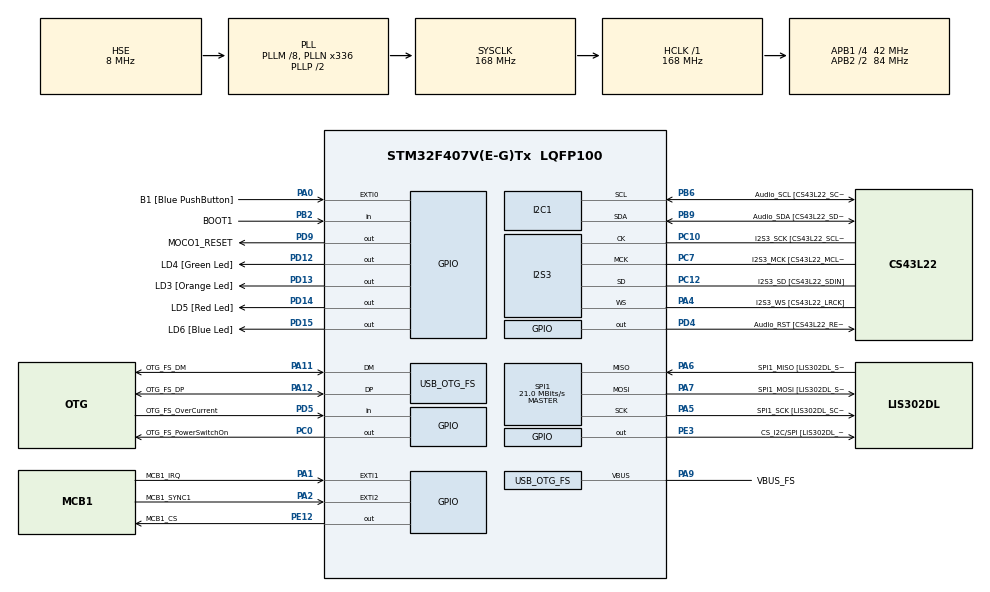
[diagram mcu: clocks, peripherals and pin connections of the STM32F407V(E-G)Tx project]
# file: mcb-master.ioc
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I2S3.AudioFreq-Half_Duplex_Master=I2S_AUDIOFREQ_96K
I2S3.ErrorAudioFreq=-2.34 %
I2S3.ErrorAudioFreq-Half_Duplex_Master=0.8 %
I2S3.FullDuplexMode=I2S_FULLDUPLEXMODE_DISABLE
I2S3.Instance=SPI$Index
I2S3.RealAudioFreq=93.75 KHz
I2S3.RealAudioFreq-Half_Duplex_Master=96.774 KHz
I2S3.VirtualMode=I2S_MODE_MASTER
Mcu.Family=STM32F4
Mcu.Name=STM32F407V(E-G)Tx
Mcu.Package=LQFP100
NVIC.OTG_FS_IRQn=true\:0\:0\:false\:false\:true\:true\:true
NVIC.PriorityGroup=NVIC_PRIORITYGROUP_0
PA0-WKUP.GPIO_Label=B1 [Blue PushButton]
PA0-WKUP.GPIO_ModeDefaultEXTI=GPIO_MODE_EVT_RISING
PA0-WKUP.GPIO_PuPd=GPIO_NOPULL
PA0-WKUP.Signal=GPXTI0
PA1.GPIO_Label=MCB1_IRQ
PA1.Signal=GPXTI1
PA10.GPIO_Label=OTG_FS_ID
PA10.GPIO_Mode=GPIO_MODE_AF_PP
PA10.GPIO_PuPd=GPIO_NOPULL
PA10.GPIO_Speed=GPIO_SPEED_FREQ_LOW
PA10.Signal=USB_OTG_FS_ID
PA11.GPIO_Label=OTG_FS_DM
PA11.GPIO_Mode=GPIO_MODE_AF_PP
PA11.GPIO_PuPd=GPIO_NOPULL
PA11.GPIO_Speed=GPIO_SPEED_FREQ_LOW
PA11.Mode=Host_Only
PA11.Signal=USB_OTG_FS_DM
PA12.GPIO_Label=OTG_FS_DP
PA12.GPIO_Mode=GPIO_MODE_AF_PP
PA12.GPIO_PuPd=GPIO_NOPULL
PA12.GPIO_Speed=GPIO_SPEED_FREQ_LOW
PA12.Mode=Host_Only
PA12.Signal=USB_OTG_FS_DP
PA13.GPIO_Label=SWDIO
PA13.Mode=Serial_Wire
PA13.Signal=SYS_JTMS-SWDIO
PA14.GPIO_Label=SWCLK
PA14.Mode=Serial_Wire
PA14.Signal=SYS_JTCK-SWCLK
PA2.GPIO_Label=MCB1_SYNC1
PA2.GPIO_PuPd=GPIO_PULLUP
PA2.Signal=GPXTI2
PA4.GPIO_Label=I2S3_WS [CS43L22_LRCK]
PA4.GPIO_Mode=GPIO_MODE_AF_PP
PA4.GPIO_PuPd=GPIO_NOPULL
PA4.GPIO_Speed=GPIO_SPEED_FREQ_LOW
PA4.Mode=Half_Duplex_Master
PA4.Signal=I2S3_WS
PA5.GPIO_Label=SPI1_SCK [LIS302DL_SCL/SPC]
PA5.GPIO_Mode=GPIO_MODE_AF_PP
PA5.GPIO_PuPd=GPIO_NOPULL
PA5.GPIO_Speed=GPIO_SPEED_FREQ_LOW
PA5.Mode=Full_Duplex_Master
PA5.Signal=SPI1_SCK
PA6.GPIO_Label=SPI1_MISO [LIS302DL_SDO]
PA6.GPIO_Mode=GPIO_MODE_AF_PP
PA6.GPIO_PuPd=GPIO_NOPULL
PA6.GPIO_Speed=GPIO_SPEED_FREQ_LOW
PA6.Mode=Full_Duplex_Master
PA6.Signal=SPI1_MISO
PA7.GPIO_Label=SPI1_MOSI [LIS302DL_SDA/SDI/SDO]
PA7.GPIO_Mode=GPIO_MODE_AF_PP
PA7.GPIO_PuPd=GPIO_NOPULL
PA7.GPIO_Speed=GPIO_SPEED_FREQ_LOW
PA7.Mode=Full_Duplex_Master
PA7.Signal=SPI1_MOSI
PA9.GPIO_Label=VBUS_FS
PA9.GPIO_Mode=GPIO_MODE_INPUT
PA9.GPIO_PuPd=GPIO_NOPULL
PA9.Mode=Activate_VBUS
PA9.Signal=USB_OTG_FS_VBUS
PB10.GPIO_Label=CLK_IN [MP45DT02_CLK]
PB10.GPIO_Mode=GPIO_MODE_AF_PP
PB10.GPIO_PuPd=GPIO_NOPULL
PB10.GPIO_Speed=GPIO_SPEED_FREQ_LOW
PB10.Signal=I2S2_CK
PB2.GPIO_Label=BOOT1
PB2.GPIO_Mode=GPIO_MODE_INPUT
PB2.GPIO_PuPd=GPIO_NOPULL
PB2.Signal=GPIO_Input
PB3.GPIO_Label=SWO
PB3.Signal=SYS_JTDO-SWO
PB6.GPIO_Label=Audio_SCL [CS43L22_SCL]
PB6.GPIO_Mode=GPIO_MODE_AF_OD
PB6.GPIO_PuPd=GPIO_NOPULL
PB6.GPIO_Speed=GPIO_SPEED_FREQ_LOW
PB6.Mode=I2C
PB6.Signal=I2C1_SCL
PB9.GPIO_Label=Audio_SDA [CS43L22_SDA]
PB9.GPIO_Mode=GPIO_MODE_AF_OD
PB9.GPIO_PuPd=GPIO_NOPULL
PB9.GPIO_Speed=GPIO_SPEED_FREQ_LOW
PB9.Mode=I2C
PB9.Signal=I2C1_SDA
PC0.GPIO_Label=OTG_FS_PowerSwitchOn
PC0.GPIO_PuPd=GPIO_NOPULL
PC0.GPIO_Speed=GPIO_SPEED_FREQ_LOW
PC0.PinState=GPIO_PIN_SET
PC0.Signal=GPIO_Output
PC10.GPIO_Label=I2S3_SCK [CS43L22_SCLK]
PC10.GPIO_Mode=GPIO_MODE_AF_PP
PC10.GPIO_PuPd=GPIO_NOPULL
PC10.GPIO_Speed=GPIO_SPEED_FREQ_LOW
PC10.Mode=Half_Duplex_Master
PC10.Signal=I2S3_CK
PC12.GPIO_Label=I2S3_SD [CS43L22_SDIN]
PC12.GPIO_Mode=GPIO_MODE_AF_PP
PC12.GPIO_PuPd=GPIO_NOPULL
PC12.GPIO_Speed=GPIO_SPEED_FREQ_LOW
PC12.Mode=Half_Duplex_Master
PC12.Signal=I2S3_SD
PC14-OSC32_IN.GPIO_Label=PC14-OSC32_IN
PC14-OSC32_IN.Mode=LSE-External-Oscillator
PC14-OSC32_IN.Signal=RCC_OSC32_IN
PC15-OSC32_OUT.GPIO_Label=PC15-OSC32_OUT
PC15-OSC32_OUT.Mode=LSE-External-Oscillator
PC15-OSC32_OUT.Signal=RCC_OSC32_OUT
PC3.GPIO_Label=PDM_OUT [MP45DT02_DOUT]
PC3.GPIO_Mode=GPIO_MODE_AF_PP
PC3.GPIO_PuPd=GPIO_NOPULL
PC3.GPIO_Speed=GPIO_SPEED_FREQ_LOW
PC3.Signal=I2S2_SD
PC7.GPIO_Label=I2S3_MCK [CS43L22_MCLK]
PC7.GPIO_Mode=GPIO_MODE_AF_PP
PC7.GPIO_PuPd=GPIO_NOPULL
PC7.GPIO_Speed=GPIO_SPEED_FREQ_LOW
PC7.Mode=Master_Clock_Activated
PC7.Signal=I2S3_MCK
PD12.GPIO_Label=LD4 [Green Led]
PD12.GPIO_PuPd=GPIO_NOPULL
PD12.GPIO_Speed=GPIO_SPEED_FREQ_LOW
PD12.Signal=GPIO_Output
PD13.GPIO_Label=LD3 [Orange Led]
PD13.GPIO_PuPd=GPIO_NOPULL
PD13.GPIO_Speed=GPIO_SPEED_FREQ_LOW
PD13.Signal=GPIO_Output
PD14.GPIO_Label=LD5 [Red Led]
PD14.GPIO_PuPd=GPIO_NOPULL
PD14.GPIO_Speed=GPIO_SPEED_FREQ_LOW
PD14.Signal=GPIO_Output
PD15.GPIO_Label=LD6 [Blue Led]
PD15.GPIO_PuPd=GPIO_NOPULL
PD15.GPIO_Speed=GPIO_SPEED_FREQ_LOW
PD15.Signal=GPIO_Output
PD4.GPIO_Label=Audio_RST [CS43L22_RESET]
PD4.GPIO_PuPd=GPIO_NOPULL
PD4.GPIO_Speed=GPIO_SPEED_FREQ_LOW
PD4.Signal=GPIO_Output
PD5.GPIO_Label=OTG_FS_OverCurrent
PD5.GPIO_Mode=GPIO_MODE_INPUT
PD5.GPIO_PuPd=GPIO_NOPULL
PD5.Signal=GPIO_Input
PD9.GPIO_Label=MOCO1_RESET
PD9.Signal=GPIO_Output
PE12.GPIO_Label=MCB1_CS
PE12.GPIO_PuPd=GPIO_PULLUP
PE12.GPIO_Speed=GPIO_SPEED_FREQ_HIGH
PE12.PinState=GPIO_PIN_SET
PE12.Signal=GPIO_Output
PE3.GPIO_Label=CS_I2C/SPI [LIS302DL_CS_I2C/SPI]
PE3.GPIO_PuPd=GPIO_NOPULL
PE3.GPIO_Speed=GPIO_SPEED_FREQ_LOW
PE3.Signal=GPIO_Output
PH0-OSC_IN.GPIO_Label=PH0-OSC_IN
PH0-OSC_IN.Mode=HSE-External-Oscillator
PH0-OSC_IN.Signal=RCC_OSC_IN
PH1-OSC_OUT.GPIO_Label=PH1-OSC_OUT
PH1-OSC_OUT.Mode=HSE-External-Oscillator
PH1-OSC_OUT.Signal=RCC_OSC_OUT
ProjectManager.HeapSize=0x200
ProjectManager.StackSize=0x400
ProjectManager.TargetToolchain=STM32CubeIDE
RCC.48MHZClocksFreq_Value=48000000
RCC.AHBFreq_Value=168000000
RCC.APB1CLKDivider=RCC_HCLK_DIV4
RCC.APB1Freq_Value=42000000
RCC.APB1TimFreq_Value=84000000
RCC.APB2CLKDivider=RCC_HCLK_DIV2
RCC.APB2Freq_Value=84000000
RCC.APB2TimFreq_Value=168000000
RCC.CortexFreq_Value=168000000
RCC.HCLKFreq_Value=168000000
RCC.HSE_VALUE=8000000
RCC.HSI_VALUE=16000000
RCC.PLLM=8
RCC.PLLN=336
RCC.PLLQ=7
RCC.SYSCLKFreq_VALUE=168000000
RCC.SYSCLKSource=RCC_SYSCLKSOURCE_PLLCLK
RCC.VCOOutputFreq_Value=336000000
SPI1.BaudRatePrescaler=SPI_BAUDRATEPRESCALER_4
SPI1.BaudRatePrescaler-Full_Duplex_Master=SPI_BAUDRATEPRESCALER_2
SPI1.CLKPolarity=SPI_POLARITY_HIGH
SPI1.CRCCalculation=SPI_CRCCALCULATION_ENABLE
SPI1.CRCPolynomial=X12+X5+X0
SPI1.CalculateBaudRate=21.0 MBits/s
SPI1.CalculateBaudRate-Full_Duplex_Master=42.0 MBits/s
SPI1.DataSize=SPI_DATASIZE_16BIT
SPI1.Direction=SPI_DIRECTION_2LINES
SPI1.Mode=SPI_MODE_MASTER
SPI1.Mode-Full_Duplex_Master=SPI_MODE_MASTER
SPI1.VirtualType=VM_MASTER
USB_HOST.BSP.number=1
USB_HOST.USBH_HandleTypeDef-CDC_FS=hUsbHostFS
USB_HOST.VirtualModeFS=Cdc
USB_HOST0.BSP.STBoard=false
USB_HOST0.BSP.api=Unknown
USB_HOST0.BSP.i2caddr=0
USB_HOST0.BSP.i2creg=0
USB_HOST0.BSP.instance=PC0
USB_HOST0.BSP.ip=GPIO
USB_HOST0.BSP.mode=Output
USB_HOST0.BSP.name=Drive_VBUS_FS
USB_HOST0.BSP.solution=PC0
USB_OTG_FS.VirtualMode=Host_Only
USB_OTG_FS.phy_itface=HCD_PHY_EMBEDDED
VP_USB_HOST_VS_USB_HOST_CDC_FS.Mode=CDC_FS
board=STM32F407G-DISC1

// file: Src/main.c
/* USER CODE BEGIN Header */
/**
  ******************************************************************************
  * @file           : main.c
  * @brief          : Main program body
  ******************************************************************************
  * @attention
  *
  * <h2><center>&copy; Copyright (c) 2020 STMicroelectronics.
  * All rights reserved.</center></h2>
  *
  * This software component is licensed by ST under Ultimate Liberty license
  * SLA0044, the "License"; You may not use this file except in compliance with
  * the License. You may obtain a copy of the License at:
  *                             www.st.com/SLA0044
  *
  ******************************************************************************
  */
/* USER CODE END Header */

#include "main.h"
#include "usb_host.h"

/* USER CODE BEGIN Includes */
#include <string.h>
#include "mcb.h"
#include "mcb_al.h"
/* USER CODE END Includes */

/* USER CODE BEGIN PM */
#define MCB_NMB_INST    (uint16_t)1U
#define MCB_TIMEOUT     (uint32_t)500UL
/* USER CODE END PM */

I2C_HandleTypeDef hi2c1;

I2S_HandleTypeDef hi2s3;

SPI_HandleTypeDef hspi1;

void SystemClock_Config(void);
static void MX_GPIO_Init(void);
static void MX_I2C1_Init(void);
static void MX_I2S3_Init(void);
static void MX_SPI1_Init(void);
void MX_USB_HOST_Process(void);

/* USER CODE BEGIN 0 */
/** Mcb instance */
Mcb_TInst ptMcbInst[MCB_NMB_INST];
/* USER CODE END 0 */

int main(void)
{

  /* MCU Configuration--------------------------------------------------------*/

  /* Reset of all peripherals, Initializes the Flash interface and the Systick. */
  HAL_Init();

  /* Configure the system clock */
  SystemClock_Config();

  /* Initialize all configured peripherals */
  MX_GPIO_Init();
  MX_I2C1_Init();
  MX_I2S3_Init();
  MX_SPI1_Init();
  MX_USB_HOST_Init();
  /* USER CODE BEGIN 2 */
    /** Initialize mcb instance */
    McbAL_Init(MCB_INST0);
    Mcb_Init(&(ptMcbInst[MCB_INST0]), MCB_BLOCKING, MCB_INST0, false, MCB_TIMEOUT);
    HAL_Delay((uint32_t)1UL);

    /** Construct mcb get info message */
    Mcb_TInfoMsg tMcbInfoMsg;
    /** Software version */
    tMcbInfoMsg.u16Addr = 0x6E4;
    tMcbInfoMsg.eStatus = MCB_STANDBY;
    ptMcbInst[MCB_INST0].Mcb_GetInfo(&(ptMcbInst[MCB_INST0]), &(tMcbInfoMsg));
  /* USER CODE END 2 */

  /* Infinite loop */
  /* USER CODE BEGIN WHILE */
    /** Construct mcb read message */
    Mcb_TMsg tMcbMsg;
    /** Software version */
    tMcbMsg.u16Addr = 0x6E4;
    tMcbMsg.eStatus = MCB_STANDBY;
    memset((void*)tMcbMsg.u16Data, (uint16_t)0U, (MCB_MAX_DATA_SZ * sizeof(tMcbMsg.u16Data[(uint16_t)0U])));
  while (1)
  {
    /* USER CODE END WHILE */
    MX_USB_HOST_Process();

    /* USER CODE BEGIN 3 */
    HAL_Delay((uint32_t)1UL);
    ptMcbInst[MCB_INST0].Mcb_Read(&(ptMcbInst[MCB_INST0]), &(tMcbMsg));
  }
  /* USER CODE END 3 */
}

void SystemClock_Config(void)
{
  RCC_OscInitTypeDef RCC_OscInitStruct = {0};
  RCC_ClkInitTypeDef RCC_ClkInitStruct = {0};
  RCC_PeriphCLKInitTypeDef PeriphClkInitStruct = {0};

  /** Configure the main internal regulator output voltage
  */
  __HAL_RCC_PWR_CLK_ENABLE();
  __HAL_PWR_VOLTAGESCALING_CONFIG(PWR_REGULATOR_VOLTAGE_SCALE1);
  /** Initializes the CPU, AHB and APB busses clocks
  */
  RCC_OscInitStruct.OscillatorType = RCC_OSCILLATORTYPE_HSE;
  RCC_OscInitStruct.HSEState = RCC_HSE_ON;
  RCC_OscInitStruct.PLL.PLLState = RCC_PLL_ON;
  RCC_OscInitStruct.PLL.PLLSource = RCC_PLLSOURCE_HSE;
  RCC_OscInitStruct.PLL.PLLM = 8;
  RCC_OscInitStruct.PLL.PLLN = 336;
  RCC_OscInitStruct.PLL.PLLP = RCC_PLLP_DIV2;
  RCC_OscInitStruct.PLL.PLLQ = 7;
  if (HAL_RCC_OscConfig(&RCC_OscInitStruct) != HAL_OK)
  {
    Error_Handler();
  }
  /** Initializes the CPU, AHB and APB busses clocks
  */
  RCC_ClkInitStruct.ClockType = RCC_CLOCKTYPE_HCLK|RCC_CLOCKTYPE_SYSCLK
                              |RCC_CLOCKTYPE_PCLK1|RCC_CLOCKTYPE_PCLK2;
  RCC_ClkInitStruct.SYSCLKSource = RCC_SYSCLKSOURCE_PLLCLK;
  RCC_ClkInitStruct.AHBCLKDivider = RCC_SYSCLK_DIV1;
  RCC_ClkInitStruct.APB1CLKDivider = RCC_HCLK_DIV4;
  RCC_ClkInitStruct.APB2CLKDivider = RCC_HCLK_DIV2;

  if (HAL_RCC_ClockConfig(&RCC_ClkInitStruct, FLASH_LATENCY_5) != HAL_OK)
  {
    Error_Handler();
  }
  PeriphClkInitStruct.PeriphClockSelection = RCC_PERIPHCLK_I2S;
  PeriphClkInitStruct.PLLI2S.PLLI2SN = 192;
  PeriphClkInitStruct.PLLI2S.PLLI2SR = 2;
  if (HAL_RCCEx_PeriphCLKConfig(&PeriphClkInitStruct) != HAL_OK)
  {
    Error_Handler();
  }
}

static void MX_I2C1_Init(void)
{

  hi2c1.Instance = I2C1;
  hi2c1.Init.ClockSpeed = 100000;
  hi2c1.Init.DutyCycle = I2C_DUTYCYCLE_2;
  hi2c1.Init.OwnAddress1 = 0;
  hi2c1.Init.AddressingMode = I2C_ADDRESSINGMODE_7BIT;
  hi2c1.Init.DualAddressMode = I2C_DUALADDRESS_DISABLE;
  hi2c1.Init.OwnAddress2 = 0;
  hi2c1.Init.GeneralCallMode = I2C_GENERALCALL_DISABLE;
  hi2c1.Init.NoStretchMode = I2C_NOSTRETCH_DISABLE;
  if (HAL_I2C_Init(&hi2c1) != HAL_OK)
  {
    Error_Handler();
  }

}

static void MX_I2S3_Init(void)
{

  hi2s3.Instance = SPI3;
  hi2s3.Init.Mode = I2S_MODE_MASTER_TX;
  hi2s3.Init.Standard = I2S_STANDARD_PHILIPS;
  hi2s3.Init.DataFormat = I2S_DATAFORMAT_16B;
  hi2s3.Init.MCLKOutput = I2S_MCLKOUTPUT_ENABLE;
  hi2s3.Init.AudioFreq = I2S_AUDIOFREQ_96K;
  hi2s3.Init.CPOL = I2S_CPOL_LOW;
  hi2s3.Init.ClockSource = I2S_CLOCK_PLL;
  hi2s3.Init.FullDuplexMode = I2S_FULLDUPLEXMODE_DISABLE;
  if (HAL_I2S_Init(&hi2s3) != HAL_OK)
  {
    Error_Handler();
  }

}

static void MX_SPI1_Init(void)
{

  /* SPI1 parameter configuration*/
  hspi1.Instance = SPI1;
  hspi1.Init.Mode = SPI_MODE_MASTER;
  hspi1.Init.Direction = SPI_DIRECTION_2LINES;
  hspi1.Init.DataSize = SPI_DATASIZE_16BIT;
  hspi1.Init.CLKPolarity = SPI_POLARITY_HIGH;
  hspi1.Init.CLKPhase = SPI_PHASE_1EDGE;
  hspi1.Init.NSS = SPI_NSS_SOFT;
  hspi1.Init.BaudRatePrescaler = SPI_BAUDRATEPRESCALER_4;
  hspi1.Init.FirstBit = SPI_FIRSTBIT_MSB;
  hspi1.Init.TIMode = SPI_TIMODE_DISABLE;
  hspi1.Init.CRCCalculation = SPI_CRCCALCULATION_ENABLE;
  hspi1.Init.CRCPolynomial = 4129;
  if (HAL_SPI_Init(&hspi1) != HAL_OK)
  {
    Error_Handler();
  }

}

static void MX_GPIO_Init(void)
{
  GPIO_InitTypeDef GPIO_InitStruct = {0};

  /* GPIO Ports Clock Enable */
  __HAL_RCC_GPIOE_CLK_ENABLE();
  __HAL_RCC_GPIOC_CLK_ENABLE();
  __HAL_RCC_GPIOH_CLK_ENABLE();
  __HAL_RCC_GPIOA_CLK_ENABLE();
  __HAL_RCC_GPIOB_CLK_ENABLE();
  __HAL_RCC_GPIOD_CLK_ENABLE();

  /*Configure GPIO pin Output Level */
  HAL_GPIO_WritePin(CS_I2C_SPI_GPIO_Port, CS_I2C_SPI_Pin, GPIO_PIN_RESET);

  /*Configure GPIO pin Output Level */
  HAL_GPIO_WritePin(OTG_FS_PowerSwitchOn_GPIO_Port, OTG_FS_PowerSwitchOn_Pin, GPIO_PIN_SET);

  /*Configure GPIO pin Output Level */
  HAL_GPIO_WritePin(MCB1_CS_GPIO_Port, MCB1_CS_Pin, GPIO_PIN_SET);

  /*Configure GPIO pin Output Level */
  HAL_GPIO_WritePin(GPIOD, MOCO1_RESET_Pin|LD4_Pin|LD3_Pin|LD5_Pin
                          |LD6_Pin|Audio_RST_Pin, GPIO_PIN_RESET);

  /*Configure GPIO pin : CS_I2C_SPI_Pin */
  GPIO_InitStruct.Pin = CS_I2C_SPI_Pin;
  GPIO_InitStruct.Mode = GPIO_MODE_OUTPUT_PP;
  GPIO_InitStruct.Pull = GPIO_NOPULL;
  GPIO_InitStruct.Speed = GPIO_SPEED_FREQ_LOW;
  HAL_GPIO_Init(CS_I2C_SPI_GPIO_Port, &GPIO_InitStruct);

  /*Configure GPIO pin : OTG_FS_PowerSwitchOn_Pin */
  GPIO_InitStruct.Pin = OTG_FS_PowerSwitchOn_Pin;
  GPIO_InitStruct.Mode = GPIO_MODE_OUTPUT_PP;
  GPIO_InitStruct.Pull = GPIO_NOPULL;
  GPIO_InitStruct.Speed = GPIO_SPEED_FREQ_LOW;
  HAL_GPIO_Init(OTG_FS_PowerSwitchOn_GPIO_Port, &GPIO_InitStruct);

  /*Configure GPIO pin : PDM_OUT_Pin */
  GPIO_InitStruct.Pin = PDM_OUT_Pin;
  GPIO_InitStruct.Mode = GPIO_MODE_AF_PP;
  GPIO_InitStruct.Pull = GPIO_NOPULL;
  GPIO_InitStruct.Speed = GPIO_SPEED_FREQ_LOW;
  GPIO_InitStruct.Alternate = GPIO_AF5_SPI2;
  HAL_GPIO_Init(PDM_OUT_GPIO_Port, &GPIO_InitStruct);

  /*Configure GPIO pin : B1_Pin */
  GPIO_InitStruct.Pin = B1_Pin;
  GPIO_InitStruct.Mode = GPIO_MODE_EVT_RISING;
  GPIO_InitStruct.Pull = GPIO_NOPULL;
  HAL_GPIO_Init(B1_GPIO_Port, &GPIO_InitStruct);

  /*Configure GPIO pin : MCB1_IRQ_Pin */
  GPIO_InitStruct.Pin = MCB1_IRQ_Pin;
  GPIO_InitStruct.Mode = GPIO_MODE_IT_RISING;
  GPIO_InitStruct.Pull = GPIO_NOPULL;
  HAL_GPIO_Init(MCB1_IRQ_GPIO_Port, &GPIO_InitStruct);

  /*Configure GPIO pin : MCB1_SYNC1_Pin */
  GPIO_InitStruct.Pin = MCB1_SYNC1_Pin;
  GPIO_InitStruct.Mode = GPIO_MODE_IT_RISING;
  GPIO_InitStruct.Pull = GPIO_PULLUP;
  HAL_GPIO_Init(MCB1_SYNC1_GPIO_Port, &GPIO_InitStruct);

  /*Configure GPIO pin : BOOT1_Pin */
  GPIO_InitStruct.Pin = BOOT1_Pin;
  GPIO_InitStruct.Mode = GPIO_MODE_INPUT;
  GPIO_InitStruct.Pull = GPIO_NOPULL;
  HAL_GPIO_Init(BOOT1_GPIO_Port, &GPIO_InitStruct);

  /*Configure GPIO pin : MCB1_CS_Pin */
  GPIO_InitStruct.Pin = MCB1_CS_Pin;
  GPIO_InitStruct.Mode = GPIO_MODE_OUTPUT_PP;
  GPIO_InitStruct.Pull = GPIO_PULLUP;
  GPIO_InitStruct.Speed = GPIO_SPEED_FREQ_HIGH;
  HAL_GPIO_Init(MCB1_CS_GPIO_Port, &GPIO_InitStruct);

  /*Configure GPIO pin : CLK_IN_Pin */
  GPIO_InitStruct.Pin = CLK_IN_Pin;
  GPIO_InitStruct.Mode = GPIO_MODE_AF_PP;
  GPIO_InitStruct.Pull = GPIO_NOPULL;
  GPIO_InitStruct.Speed = GPIO_SPEED_FREQ_LOW;
  GPIO_InitStruct.Alternate = GPIO_AF5_SPI2;
  HAL_GPIO_Init(CLK_IN_GPIO_Port, &GPIO_InitStruct);

  /*Configure GPIO pins : MOCO1_RESET_Pin LD4_Pin LD3_Pin LD5_Pin
                           LD6_Pin Audio_RST_Pin */
  GPIO_InitStruct.Pin = MOCO1_RESET_Pin|LD4_Pin|LD3_Pin|LD5_Pin
                          |LD6_Pin|Audio_RST_Pin;
  GPIO_InitStruct.Mode = GPIO_MODE_OUTPUT_PP;
  GPIO_InitStruct.Pull = GPIO_NOPULL;
  GPIO_InitStruct.Speed = GPIO_SPEED_FREQ_LOW;
  HAL_GPIO_Init(GPIOD, &GPIO_InitStruct);

  /*Configure GPIO pin : OTG_FS_OverCurrent_Pin */
  GPIO_InitStruct.Pin = OTG_FS_OverCurrent_Pin;
  GPIO_InitStruct.Mode = GPIO_MODE_INPUT;
  GPIO_InitStruct.Pull = GPIO_NOPULL;
  HAL_GPIO_Init(OTG_FS_OverCurrent_GPIO_Port, &GPIO_InitStruct);

}

void Error_Handler(void)
{
}

/************************ (C) COPYRIGHT STMicroelectronics *****END OF FILE****/
